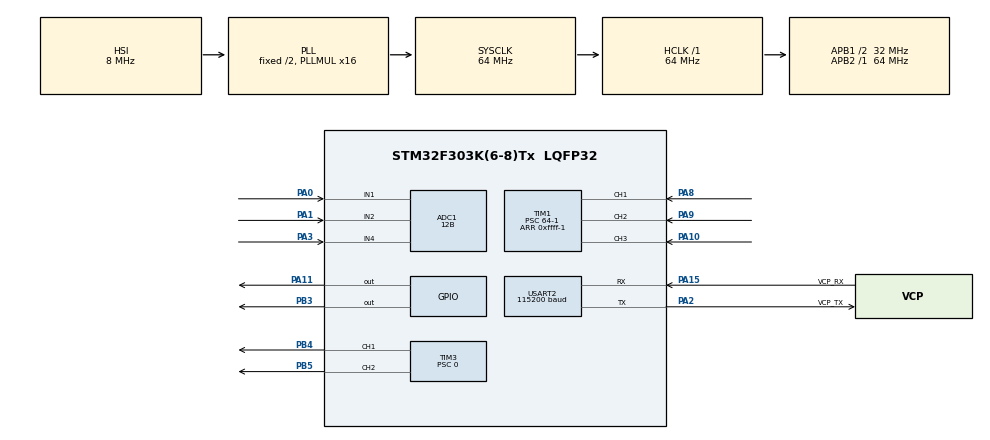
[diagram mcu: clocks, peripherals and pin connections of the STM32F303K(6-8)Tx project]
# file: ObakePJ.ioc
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ADC1.Channel-0\#ChannelRegularConversion=ADC_CHANNEL_1
ADC1.Channel-1\#ChannelRegularConversion=ADC_CHANNEL_2
ADC1.Channel-2\#ChannelRegularConversion=ADC_CHANNEL_4
ADC1.ClockPrescaler=ADC_CLOCK_SYNC_PCLK_DIV1
ADC1.ContinuousConvMode=ENABLE
ADC1.DMAContinuousRequests=ENABLE
ADC1.EOCSelection=ADC_EOC_SEQ_CONV
ADC1.NbrOfConversion=3
ADC1.NbrOfConversionFlag=1
ADC1.Offset-0\#ChannelRegularConversion=0
ADC1.Offset-1\#ChannelRegularConversion=0
ADC1.Offset-2\#ChannelRegularConversion=0
ADC1.OffsetNumber-0\#ChannelRegularConversion=ADC_OFFSET_NONE
ADC1.OffsetNumber-1\#ChannelRegularConversion=ADC_OFFSET_NONE
ADC1.OffsetNumber-2\#ChannelRegularConversion=ADC_OFFSET_NONE
ADC1.Rank-0\#ChannelRegularConversion=1
ADC1.Rank-1\#ChannelRegularConversion=2
ADC1.Rank-2\#ChannelRegularConversion=3
ADC1.Resolution=ADC_RESOLUTION_12B
ADC1.SamplingTime-0\#ChannelRegularConversion=ADC_SAMPLETIME_1CYCLE_5
ADC1.SamplingTime-1\#ChannelRegularConversion=ADC_SAMPLETIME_1CYCLE_5
ADC1.SamplingTime-2\#ChannelRegularConversion=ADC_SAMPLETIME_7CYCLES_5
ADC1.SamplingTimeOPAMP-1\#ChannelRegularConversion=ADC_SAMPLETIME_61CYCLES_5
ADC1.SamplingTimeOPAMP-2\#ChannelRegularConversion=ADC_SAMPLETIME_61CYCLES_5
ADC1.SequencerNbRanks=1
ADC1.SubFamily=STM32F303x8
ADC1.master=1
Dma.ADC1.0.Direction=DMA_PERIPH_TO_MEMORY
Dma.ADC1.0.Instance=DMA1_Channel1
Dma.ADC1.0.MemDataAlignment=DMA_MDATAALIGN_HALFWORD
Dma.ADC1.0.MemInc=DMA_MINC_ENABLE
Dma.ADC1.0.Mode=DMA_NORMAL
Dma.ADC1.0.PeriphDataAlignment=DMA_PDATAALIGN_HALFWORD
Dma.ADC1.0.PeriphInc=DMA_PINC_DISABLE
Dma.ADC1.0.Priority=DMA_PRIORITY_VERY_HIGH
Dma.Request0=ADC1
Mcu.Family=STM32F3
Mcu.Name=STM32F303K(6-8)Tx
Mcu.Package=LQFP32
NVIC.DMA1_Channel1_IRQn=true\:0\:0\:false\:false\:true\:false\:true
NVIC.PriorityGroup=NVIC_PRIORITYGROUP_4
NVIC.TIM1_CC_IRQn=true\:0\:0\:false\:false\:true\:true\:true
NVIC.TIM3_IRQn=true\:0\:0\:false\:false\:true\:true\:true
PA0.Mode=IN1-Single-Ended
PA0.Signal=ADC1_IN1
PA1.Mode=IN2-Single-Ended
PA1.Signal=ADC1_IN2
PA10.Signal=S_TIM1_CH3
PA11.Signal=GPIO_Output
PA13.GPIO_Label=SWDIO
PA13.Mode=Serial_Wire
PA13.Signal=SYS_JTMS-SWDIO
PA14.GPIO_Label=SWCLK
PA14.Mode=Serial_Wire
PA14.Signal=SYS_JTCK-SWCLK
PA15.GPIO_Label=VCP_RX
PA15.Mode=Asynchronous
PA15.Signal=USART2_RX
PA2.GPIO_Label=VCP_TX
PA2.Mode=Asynchronous
PA2.Signal=USART2_TX
PA3.Mode=IN4-Single-Ended
PA3.Signal=ADC1_IN4
PA8.Signal=S_TIM1_CH1
PA9.Signal=S_TIM1_CH2
PB3.Signal=GPIO_Output
PB4.Signal=S_TIM3_CH1
PB5.Signal=S_TIM3_CH2
PF0\ /\ OSC_IN.GPIO_Label=MCO
PF0\ /\ OSC_IN.Mode=HSE-External-Clock-Source
PF0\ /\ OSC_IN.Signal=RCC_OSC_IN
ProjectManager.HeapSize=0x200
ProjectManager.StackSize=0x400
ProjectManager.TargetToolchain=STM32CubeIDE
RCC.AHBFreq_Value=64000000
RCC.APB1CLKDivider=RCC_HCLK_DIV2
RCC.APB1Freq_Value=32000000
RCC.APB1TimFreq_Value=64000000
RCC.APB2Freq_Value=64000000
RCC.APB2TimFreq_Value=64000000
RCC.CortexFreq_Value=64000000
RCC.HCLKFreq_Value=64000000
RCC.HSE_VALUE=8000000
RCC.HSI_VALUE=8000000
RCC.PLLMUL=RCC_PLL_MUL16
RCC.SYSCLKFreq_VALUE=64000000
RCC.SYSCLKSourceVirtual=RCC_SYSCLKSOURCE_PLLCLK
SH.S_TIM1_CH1.0=TIM1_CH1,Encoder_Interface
SH.S_TIM1_CH2.0=TIM1_CH2,Encoder_Interface
SH.S_TIM1_CH3.0=TIM1_CH3,Input_Capture3_from_TI3
SH.S_TIM3_CH1.0=TIM3_CH1,PWM Generation1 CH1
SH.S_TIM3_CH2.0=TIM3_CH2,PWM Generation2 CH2
TIM1.Channel-Input_Capture3_from_TI3=TIM_CHANNEL_3
TIM1.Period=0xffff-1
TIM1.Prescaler=64-1
TIM3.AutoReloadPreload=TIM_AUTORELOAD_PRELOAD_DISABLE
TIM3.Channel-PWM\ Generation1\ CH1=TIM_CHANNEL_1
TIM3.Channel-PWM\ Generation2\ CH2=TIM_CHANNEL_2
TIM3.OC1Preload_PWM=DISABLE
TIM3.OC2Preload_PWM=DISABLE
TIM3.Period=999
TIM3.Prescaler=0
TIM7.Prescaler=64-1
USART2.BaudRate=115200
USART2.DMADisableonRxErrorParam=ADVFEATURE_DMA_DISABLEONRXERROR
USART2.VirtualMode-Asynchronous=VM_ASYNC
VP_TIM3_VS_ClockSourceINT.Mode=Internal
VP_TIM7_VS_ClockSourceINT.Mode=Enable_Timer
board=NUCLEO-F303K8

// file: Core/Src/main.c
/* USER CODE BEGIN Header */
/**
 ******************************************************************************
 * @file           : main.c
 * @brief          : Main program body
 ******************************************************************************
 * @attention
 *
 * <h2><center>&copy; Copyright (c) 2020 STMicroelectronics.
 * All rights reserved.</center></h2>
 *
 * This software component is licensed by ST under BSD 3-Clause license,
 * the "License"; You may not use this file except in compliance with the
 * License. You may obtain a copy of the License at:
 *                        opensource.org/licenses/BSD-3-Clause
 *
 ******************************************************************************
 */
/* USER CODE END Header */
#include "main.h"

/* USER CODE BEGIN PD */
#define DEBUG_SERIAL
/* USER CODE END PD */

ADC_HandleTypeDef hadc1;
DMA_HandleTypeDef hdma_adc1;

TIM_HandleTypeDef htim1;
TIM_HandleTypeDef htim3;
TIM_HandleTypeDef htim7;

UART_HandleTypeDef huart2;

void SystemClock_Config(void);
static void MX_GPIO_Init(void);
static void MX_DMA_Init(void);
static void MX_USART2_UART_Init(void);
static void MX_ADC1_Init(void);
static void MX_TIM3_Init(void);
static void MX_TIM7_Init(void);
static void MX_TIM1_Init(void);

/* USER CODE BEGIN 0 */

//UART
void uart_putc(uint8_t c) {
	char buf[1];
	buf[0] = c;
	HAL_UART_Transmit(&huart2, (uint8_t*) buf, sizeof(buf), 0xFF);
}
void uart_puts(char *str) {
	while (*str) {
		uart_putc(*str++);
	}
}

//LED Toggle
void led_toggle(void) {
	HAL_GPIO_TogglePin(GPIOB, GPIO_PIN_3);
}

//AnalogIn
bool adc_read(__IO uint16_t data[3]) {
	if (HAL_ADC_Start_DMA(&hadc1, (uint32_t*) data, 3) != HAL_OK) {
		return false;
	}
	if (HAL_ADC_Stop_DMA(&hadc1)) {
		return false;
	}
	return true;
}

//PWM
void set_Power(int16_t power) {
	uint16_t PWM_A, PWM_B;
	if (power > 999) {
		power = 999;
	} else if (power < -999) {
		power = -999;
	}

	if (power > 0) {
		PWM_A = 999 - power;
		PWM_B = 999;
	} else {
		PWM_B = 999 + power;
		PWM_A = 999;
	}

	__HAL_TIM_SET_COMPARE(&htim3, TIM_CHANNEL_1, PWM_A);
	__HAL_TIM_SET_COMPARE(&htim3, TIM_CHANNEL_2, PWM_B);

}

void delay_us(uint16_t us) {
	__HAL_TIM_SET_COUNTER(&htim7, 0);  // set the counter value a 0
	us = us;
	while (__HAL_TIM_GET_COUNTER(&htim7) < us)
		;  // wait for the counter to reach the us input in the parameter
}

//HCSR-04
float Distance = 0;
uint32_t IC_Val1 = 0;
uint32_t IC_Val2 = 0;
uint32_t Difference = 0;
uint8_t Is_First_Captured = 0;  // is the first value captured ?

void HAL_TIM_IC_CaptureCallback(TIM_HandleTypeDef *htim) {

	if (htim->Channel == HAL_TIM_ACTIVE_CHANNEL_3) // if the interrupt source is channel1
			{
		if (Is_First_Captured == 0) // if the first value is not captured
				{
			IC_Val1 = HAL_TIM_ReadCapturedValue(htim, TIM_CHANNEL_3); // read the first value
			Is_First_Captured = 1;  // set the first captured as true
			// Now change the polarity to falling edge
			__HAL_TIM_SET_CAPTUREPOLARITY(htim, TIM_CHANNEL_3,
					TIM_INPUTCHANNELPOLARITY_FALLING);
		}

		else if (Is_First_Captured == 1)   // if the first is already captured
				{
			IC_Val2 = HAL_TIM_ReadCapturedValue(htim, TIM_CHANNEL_3); // read second value
			__HAL_TIM_SET_COUNTER(htim, 0);  // reset the counter

			if (IC_Val2 > IC_Val1) {
				Difference = IC_Val2 - IC_Val1;
			}

			else if (IC_Val1 > IC_Val2) {
				Difference = (0xffff - IC_Val1) + IC_Val2;
			}

			Distance = (float) Difference * .034f / 2.f;
			Is_First_Captured = 0; // set it back to false

			// set polarity to rising edge
			__HAL_TIM_SET_CAPTUREPOLARITY(htim, TIM_CHANNEL_3,
					TIM_INPUTCHANNELPOLARITY_RISING);
			__HAL_TIM_DISABLE_IT(&htim1, TIM_IT_CC3);
		}
	}
}

float HCSR04_get() {
	//float distance;
	HAL_GPIO_WritePin(GPIOA, GPIO_PIN_9, GPIO_PIN_SET);
	delay_us(2);
	HAL_GPIO_WritePin(GPIOA, GPIO_PIN_9, GPIO_PIN_RESET);
	delay_us(10);
	HAL_GPIO_WritePin(GPIOA, GPIO_PIN_9, GPIO_PIN_SET);

	__HAL_TIM_ENABLE_IT(&htim1, TIM_IT_CC3);

	HAL_Delay(40);
	return 0;
}

/* USER CODE END 0 */

int main(void)
{
  /* USER CODE BEGIN 1 */
	__IO uint16_t data[3];
  /* USER CODE END 1 */

  /* MCU Configuration--------------------------------------------------------*/

  /* Reset of all peripherals, Initializes the Flash interface and the Systick. */
  HAL_Init();

  /* Configure the system clock */
  SystemClock_Config();

  /* Initialize all configured peripherals */
  MX_GPIO_Init();
  MX_DMA_Init();
  MX_USART2_UART_Init();
  MX_ADC1_Init();
  MX_TIM3_Init();
  MX_TIM7_Init();
  MX_TIM1_Init();
  /* USER CODE BEGIN 2 */
	int16_t power = 0;
	HAL_TIM_PWM_Start(&htim3, TIM_CHANNEL_1);
	HAL_TIM_PWM_Start(&htim3, TIM_CHANNEL_2);

	HAL_TIM_Base_Start(&htim7);

	char buf[100] = "Hello\r\n";
	HAL_UART_Transmit(&huart2, (uint8_t*) buf, sizeof(buf), 0xFFFF);

	HAL_TIM_IC_Start_IT(&htim1, TIM_CHANNEL_3);

  /* USER CODE END 2 */

  /* Infinite loop */
	while (1) {

    /* USER CODE BEGIN 3 */

		//ADC READ
		if (adc_read(&data) != true) {
			Error_Handler();
		}

		//HCSR04 measurement
		HCSR04_get();

		//PWM Out
		set_Power(power);

		//Serial Debug
#ifdef DEBUG_SERIAL
		sprintf(buf, "%f\t", Distance);
		uart_puts(buf);
		sprintf(buf, "%d\t", power);
		uart_puts(buf);
		for (uint8_t i = 0; i < 3; i++) {
			sprintf(buf, "%d\t", data[i]);
			uart_puts(buf);
		}
		sprintf(buf, "\r\n");
		uart_puts(buf);
#endif

	}
  /* USER CODE END 3 */
}

void SystemClock_Config(void)
{
  RCC_OscInitTypeDef RCC_OscInitStruct = {0};
  RCC_ClkInitTypeDef RCC_ClkInitStruct = {0};
  RCC_PeriphCLKInitTypeDef PeriphClkInit = {0};

  /** Initializes the RCC Oscillators according to the specified parameters
  * in the RCC_OscInitTypeDef structure.
  */
  RCC_OscInitStruct.OscillatorType = RCC_OSCILLATORTYPE_HSI;
  RCC_OscInitStruct.HSIState = RCC_HSI_ON;
  RCC_OscInitStruct.HSICalibrationValue = RCC_HSICALIBRATION_DEFAULT;
  RCC_OscInitStruct.PLL.PLLState = RCC_PLL_ON;
  RCC_OscInitStruct.PLL.PLLSource = RCC_PLLSOURCE_HSI;
  RCC_OscInitStruct.PLL.PLLMUL = RCC_PLL_MUL16;
  if (HAL_RCC_OscConfig(&RCC_OscInitStruct) != HAL_OK)
  {
    Error_Handler();
  }
  /** Initializes the CPU, AHB and APB buses clocks
  */
  RCC_ClkInitStruct.ClockType = RCC_CLOCKTYPE_HCLK|RCC_CLOCKTYPE_SYSCLK
                              |RCC_CLOCKTYPE_PCLK1|RCC_CLOCKTYPE_PCLK2;
  RCC_ClkInitStruct.SYSCLKSource = RCC_SYSCLKSOURCE_PLLCLK;
  RCC_ClkInitStruct.AHBCLKDivider = RCC_SYSCLK_DIV1;
  RCC_ClkInitStruct.APB1CLKDivider = RCC_HCLK_DIV2;
  RCC_ClkInitStruct.APB2CLKDivider = RCC_HCLK_DIV1;

  if (HAL_RCC_ClockConfig(&RCC_ClkInitStruct, FLASH_LATENCY_2) != HAL_OK)
  {
    Error_Handler();
  }
  PeriphClkInit.PeriphClockSelection = RCC_PERIPHCLK_TIM1;
  PeriphClkInit.Tim1ClockSelection = RCC_TIM1CLK_HCLK;
  if (HAL_RCCEx_PeriphCLKConfig(&PeriphClkInit) != HAL_OK)
  {
    Error_Handler();
  }
}

static void MX_ADC1_Init(void)
{

  ADC_MultiModeTypeDef multimode = {0};
  ADC_ChannelConfTypeDef sConfig = {0};

  /** Common config
  */
  hadc1.Instance = ADC1;
  hadc1.Init.ClockPrescaler = ADC_CLOCK_SYNC_PCLK_DIV1;
  hadc1.Init.Resolution = ADC_RESOLUTION_12B;
  hadc1.Init.ScanConvMode = ADC_SCAN_ENABLE;
  hadc1.Init.ContinuousConvMode = ENABLE;
  hadc1.Init.DiscontinuousConvMode = DISABLE;
  hadc1.Init.ExternalTrigConvEdge = ADC_EXTERNALTRIGCONVEDGE_NONE;
  hadc1.Init.ExternalTrigConv = ADC_SOFTWARE_START;
  hadc1.Init.DataAlign = ADC_DATAALIGN_RIGHT;
  hadc1.Init.NbrOfConversion = 3;
  hadc1.Init.DMAContinuousRequests = ENABLE;
  hadc1.Init.EOCSelection = ADC_EOC_SEQ_CONV;
  hadc1.Init.LowPowerAutoWait = DISABLE;
  hadc1.Init.Overrun = ADC_OVR_DATA_OVERWRITTEN;
  if (HAL_ADC_Init(&hadc1) != HAL_OK)
  {
    Error_Handler();
  }
  /** Configure the ADC multi-mode
  */
  multimode.Mode = ADC_MODE_INDEPENDENT;
  if (HAL_ADCEx_MultiModeConfigChannel(&hadc1, &multimode) != HAL_OK)
  {
    Error_Handler();
  }
  /** Configure Regular Channel
  */
  sConfig.Channel = ADC_CHANNEL_1;
  sConfig.Rank = ADC_REGULAR_RANK_1;
  sConfig.SingleDiff = ADC_SINGLE_ENDED;
  sConfig.SamplingTime = ADC_SAMPLETIME_1CYCLE_5;
  sConfig.OffsetNumber = ADC_OFFSET_NONE;
  sConfig.Offset = 0;
  if (HAL_ADC_ConfigChannel(&hadc1, &sConfig) != HAL_OK)
  {
    Error_Handler();
  }
  /** Configure Regular Channel
  */
  sConfig.Channel = ADC_CHANNEL_2;
  sConfig.Rank = ADC_REGULAR_RANK_2;
  if (HAL_ADC_ConfigChannel(&hadc1, &sConfig) != HAL_OK)
  {
    Error_Handler();
  }
  /** Configure Regular Channel
  */
  sConfig.Channel = ADC_CHANNEL_4;
  sConfig.Rank = ADC_REGULAR_RANK_3;
  sConfig.SamplingTime = ADC_SAMPLETIME_7CYCLES_5;
  if (HAL_ADC_ConfigChannel(&hadc1, &sConfig) != HAL_OK)
  {
    Error_Handler();
  }

}

static void MX_TIM1_Init(void)
{

  TIM_MasterConfigTypeDef sMasterConfig = {0};
  TIM_IC_InitTypeDef sConfigIC = {0};

  htim1.Instance = TIM1;
  htim1.Init.Prescaler = 64-1;
  htim1.Init.CounterMode = TIM_COUNTERMODE_UP;
  htim1.Init.Period = 0xffff-1;
  htim1.Init.ClockDivision = TIM_CLOCKDIVISION_DIV1;
  htim1.Init.RepetitionCounter = 0;
  htim1.Init.AutoReloadPreload = TIM_AUTORELOAD_PRELOAD_DISABLE;
  if (HAL_TIM_IC_Init(&htim1) != HAL_OK)
  {
    Error_Handler();
  }
  sMasterConfig.MasterOutputTrigger = TIM_TRGO_RESET;
  sMasterConfig.MasterOutputTrigger2 = TIM_TRGO2_RESET;
  sMasterConfig.MasterSlaveMode = TIM_MASTERSLAVEMODE_DISABLE;
  if (HAL_TIMEx_MasterConfigSynchronization(&htim1, &sMasterConfig) != HAL_OK)
  {
    Error_Handler();
  }
  sConfigIC.ICPolarity = TIM_INPUTCHANNELPOLARITY_RISING;
  sConfigIC.ICSelection = TIM_ICSELECTION_DIRECTTI;
  sConfigIC.ICPrescaler = TIM_ICPSC_DIV1;
  sConfigIC.ICFilter = 0;
  if (HAL_TIM_IC_ConfigChannel(&htim1, &sConfigIC, TIM_CHANNEL_3) != HAL_OK)
  {
    Error_Handler();
  }

}

static void MX_TIM3_Init(void)
{

  TIM_ClockConfigTypeDef sClockSourceConfig = {0};
  TIM_MasterConfigTypeDef sMasterConfig = {0};
  TIM_OC_InitTypeDef sConfigOC = {0};

  htim3.Instance = TIM3;
  htim3.Init.Prescaler = 0;
  htim3.Init.CounterMode = TIM_COUNTERMODE_UP;
  htim3.Init.Period = 999;
  htim3.Init.ClockDivision = TIM_CLOCKDIVISION_DIV1;
  htim3.Init.AutoReloadPreload = TIM_AUTORELOAD_PRELOAD_DISABLE;
  if (HAL_TIM_Base_Init(&htim3) != HAL_OK)
  {
    Error_Handler();
  }
  sClockSourceConfig.ClockSource = TIM_CLOCKSOURCE_INTERNAL;
  if (HAL_TIM_ConfigClockSource(&htim3, &sClockSourceConfig) != HAL_OK)
  {
    Error_Handler();
  }
  if (HAL_TIM_PWM_Init(&htim3) != HAL_OK)
  {
    Error_Handler();
  }
  sMasterConfig.MasterOutputTrigger = TIM_TRGO_RESET;
  sMasterConfig.MasterSlaveMode = TIM_MASTERSLAVEMODE_DISABLE;
  if (HAL_TIMEx_MasterConfigSynchronization(&htim3, &sMasterConfig) != HAL_OK)
  {
    Error_Handler();
  }
  sConfigOC.OCMode = TIM_OCMODE_PWM1;
  sConfigOC.Pulse = 0;
  sConfigOC.OCPolarity = TIM_OCPOLARITY_HIGH;
  sConfigOC.OCFastMode = TIM_OCFAST_DISABLE;
  if (HAL_TIM_PWM_ConfigChannel(&htim3, &sConfigOC, TIM_CHANNEL_1) != HAL_OK)
  {
    Error_Handler();
  }
  __HAL_TIM_DISABLE_OCxPRELOAD(&htim3, TIM_CHANNEL_1);
  if (HAL_TIM_PWM_ConfigChannel(&htim3, &sConfigOC, TIM_CHANNEL_2) != HAL_OK)
  {
    Error_Handler();
  }
  __HAL_TIM_DISABLE_OCxPRELOAD(&htim3, TIM_CHANNEL_2);
  HAL_TIM_MspPostInit(&htim3);

}

static void MX_TIM7_Init(void)
{

  TIM_MasterConfigTypeDef sMasterConfig = {0};

  htim7.Instance = TIM7;
  htim7.Init.Prescaler = 64-1;
  htim7.Init.CounterMode = TIM_COUNTERMODE_UP;
  htim7.Init.Period = 65535;
  htim7.Init.AutoReloadPreload = TIM_AUTORELOAD_PRELOAD_DISABLE;
  if (HAL_TIM_Base_Init(&htim7) != HAL_OK)
  {
    Error_Handler();
  }
  sMasterConfig.MasterOutputTrigger = TIM_TRGO_RESET;
  sMasterConfig.MasterSlaveMode = TIM_MASTERSLAVEMODE_DISABLE;
  if (HAL_TIMEx_MasterConfigSynchronization(&htim7, &sMasterConfig) != HAL_OK)
  {
    Error_Handler();
  }

}

static void MX_USART2_UART_Init(void)
{

  huart2.Instance = USART2;
  huart2.Init.BaudRate = 115200;
  huart2.Init.WordLength = UART_WORDLENGTH_8B;
  huart2.Init.StopBits = UART_STOPBITS_1;
  huart2.Init.Parity = UART_PARITY_NONE;
  huart2.Init.Mode = UART_MODE_TX_RX;
  huart2.Init.HwFlowCtl = UART_HWCONTROL_NONE;
  huart2.Init.OverSampling = UART_OVERSAMPLING_16;
  huart2.Init.OneBitSampling = UART_ONE_BIT_SAMPLE_DISABLE;
  huart2.AdvancedInit.AdvFeatureInit = UART_ADVFEATURE_DMADISABLEONERROR_INIT;
  huart2.AdvancedInit.DMADisableonRxError = UART_ADVFEATURE_DMA_DISABLEONRXERROR;
  if (HAL_UART_Init(&huart2) != HAL_OK)
  {
    Error_Handler();
  }

}

static void MX_DMA_Init(void)
{

  /* DMA controller clock enable */
  __HAL_RCC_DMA1_CLK_ENABLE();

  /* DMA interrupt init */
  /* DMA1_Channel1_IRQn interrupt configuration */
  HAL_NVIC_SetPriority(DMA1_Channel1_IRQn, 0, 0);
  HAL_NVIC_EnableIRQ(DMA1_Channel1_IRQn);

}

static void MX_GPIO_Init(void)
{
  GPIO_InitTypeDef GPIO_InitStruct = {0};

  /* GPIO Ports Clock Enable */
  __HAL_RCC_GPIOF_CLK_ENABLE();
  __HAL_RCC_GPIOA_CLK_ENABLE();
  __HAL_RCC_GPIOB_CLK_ENABLE();

  /*Configure GPIO pin Output Level */
  HAL_GPIO_WritePin(GPIOA, GPIO_PIN_9, GPIO_PIN_RESET);

  /*Configure GPIO pin Output Level */
  HAL_GPIO_WritePin(GPIOB, GPIO_PIN_3, GPIO_PIN_RESET);

  /*Configure GPIO pin : PA9 */
  GPIO_InitStruct.Pin = GPIO_PIN_9;
  GPIO_InitStruct.Mode = GPIO_MODE_OUTPUT_PP;
  GPIO_InitStruct.Pull = GPIO_NOPULL;
  GPIO_InitStruct.Speed = GPIO_SPEED_FREQ_LOW;
  HAL_GPIO_Init(GPIOA, &GPIO_InitStruct);

  /*Configure GPIO pin : PB3 */
  GPIO_InitStruct.Pin = GPIO_PIN_3;
  GPIO_InitStruct.Mode = GPIO_MODE_OUTPUT_PP;
  GPIO_InitStruct.Pull = GPIO_NOPULL;
  GPIO_InitStruct.Speed = GPIO_SPEED_FREQ_LOW;
  HAL_GPIO_Init(GPIOB, &GPIO_InitStruct);

}

void Error_Handler(void)
{
	__disable_irq();
	while (1) {
	}
}

/************************ (C) COPYRIGHT STMicroelectronics *****END OF FILE****/
